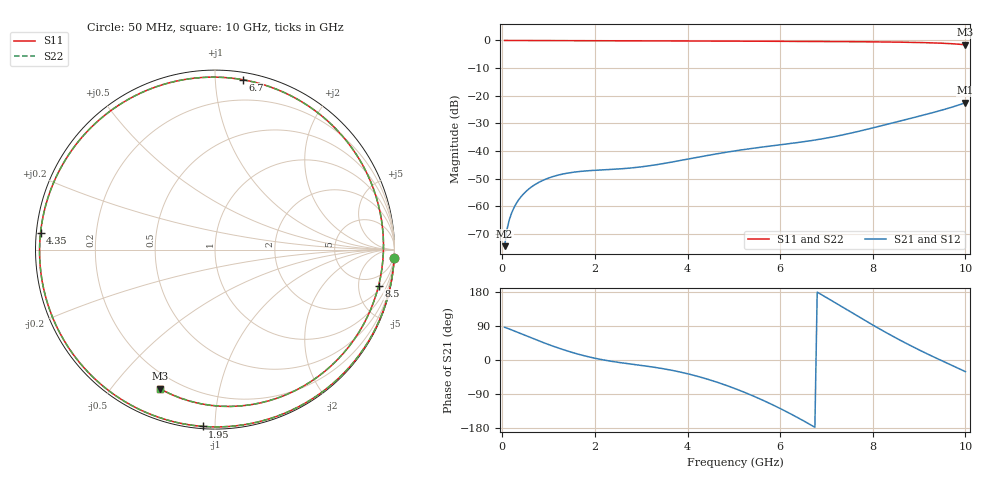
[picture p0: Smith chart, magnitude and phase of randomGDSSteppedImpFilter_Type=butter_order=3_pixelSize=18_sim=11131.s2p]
! freq	dB(S11)	phase(S11)	dB(S12)	phase(S12)
!  dB(S21)	phase(S21)	dB(S22)	phase(S22)
!S-par simulation data
#  GHz  S  DB  R 50
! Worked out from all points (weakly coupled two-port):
!   200 points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, 50 MHz to 10 GHz, reference 50 ohm
!   highest |S21| = -22.53 dB at 10 GHz (marker M1); lowest = -74.4 dB at 50 MHz (marker M2)
!   lowest |S11| = -1.6 dB at 10 GHz (marker M3), VSWR 11.03, Z = 6.6 - j33.6 ohm
!   |S11| at or under -10 dB: nowhere
!   |S22| runs from -1.6 to 0.0 dB; largest |S21 - S12| = 0
!   S11 on the Smith chart (normalised r, x): 50 MHz: 0, -44; 1.95 GHz: 0.01, -0.93; 4.35 GHz: 0.01, +0.05; 6.7 GHz: 0.05, +1.17; 8.5 GHz: 2.66, -8.32; 10 GHz: 0.13, -0.67
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0.05  -0.00 -2.6  -74.39 86.4  -74.39 86.4  -0.00 -2.6
0.1  -0.01 -5.2  -68.43 84.3  -68.43 84.3  -0.01 -5.2
0.2  -0.02 -10.4  -62.46 79.5  -62.46 79.5  -0.02 -10.4
0.5  -0.03 -25.7  -54.79 64.5  -54.79 64.5  -0.03 -25.7
1.15  -0.07 -57.8  -48.94 34.2  -48.94 34.2  -0.07 -57.8
1.75  -0.10 -85.3  -47.26 11.8  -47.26 11.8  -0.10 -85.3
1.95  -0.11 -94.0  -47.01 6.0  -47.01 6.0  -0.11 -94.0
2.6  -0.14 -120.6  -46.37 -7.8  -46.37 -7.8  -0.14 -120.6
3.4  -0.16 -151.0  -44.74 -21.5  -44.74 -21.5  -0.16 -151.0
4.35  -0.21 174.6  -41.84 -47.7  -41.84 -47.7  -0.21 174.6
5.05  -0.25 148.8  -39.87 -76.6  -39.87 -76.6  -0.25 148.9
5.95  -0.31 113.5  -37.84 -124.9  -37.84 -124.9  -0.31 113.6
6.7  -0.36 80.7  -36.15 -173.9  -36.15 -173.9  -0.36 80.9
7.15  -0.40 59.3  -34.84 153.9  -34.84 153.9  -0.40 59.5
7.65  -0.45 34.0  -33.04 117.4  -33.04 117.4  -0.45 34.2
8  -0.50 15.4  -31.63 92.3  -31.63 92.3  -0.50 15.6
8.35  -0.57 -4.0  -30.16 68.2  -30.16 68.2  -0.56 -3.7
8.5  -0.60 -12.5  -29.52 58.2  -29.52 58.2  -0.60 -12.2
8.9  -0.71 -35.8  -27.83 32.8  -27.83 32.8  -0.71 -35.6
9.35  -0.91 -63.8  -25.85 6.1  -25.85 6.1  -0.91 -63.6
9.7  -1.18 -87.9  -24.18 -13.7  -24.18 -13.7  -1.18 -87.9
10  -1.58 -111.6  -22.53 -30.7  -22.53 -30.7  -1.59 -111.7
